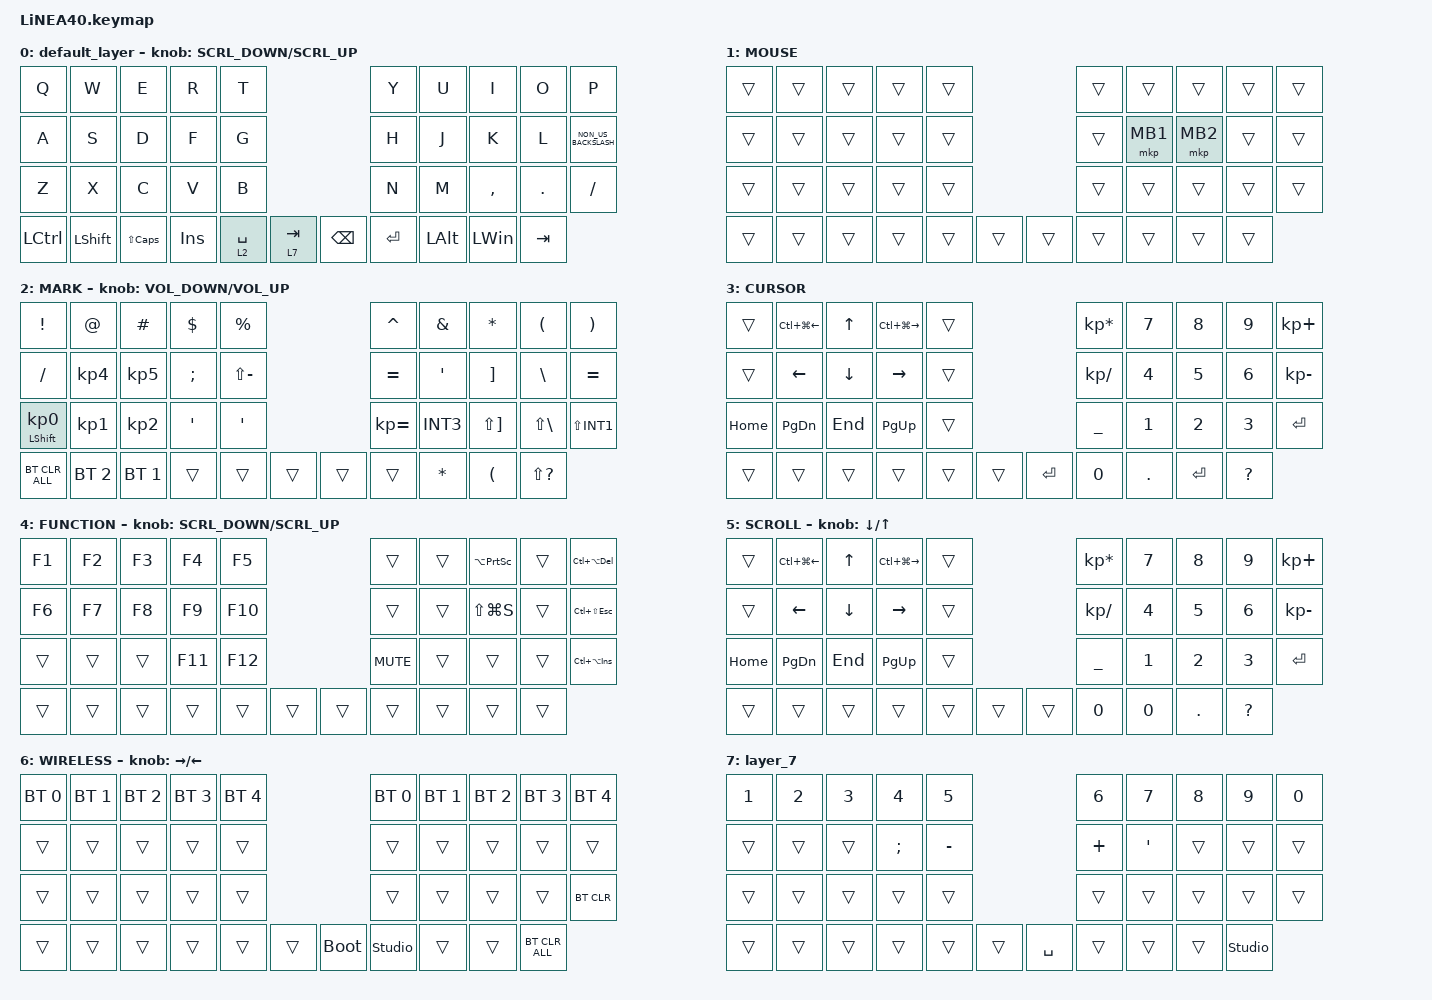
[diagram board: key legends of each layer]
#define ZMK_POINTING_DEFAULT_SCRL_VAL 150

#include <dt-bindings/zmk/input_transform.h>
#include <input/processors.dtsi>
#include <zephyr/dt-bindings/input/input-event-codes.h>
#include <behaviors.dtsi>
#include <dt-bindings/zmk/bt.h>
#include <dt-bindings/zmk/keys.h>
#include <dt-bindings/zmk/pointing.h>

#define MOUSE 1
#define MARK 2
#define CURSOR 3
#define FUNCTION 4
#define SCROLL 5
#define WIRELESS 6

//mouse cursol

&mmv {
    delay-ms = <20>;
    trigger-period-ms = <5>;
    time-to-max-speed-ms = <100>;
    acceleration-exponent = <2>;
};

//mouse scroll

&msc {
    delay-ms = <3>;
    trigger-period-ms = <3>;
    time-to-max-speed-ms = <100>;
    acceleration-exponent = <0>;
};

/ {
    input_processors {
        zip_wheel_scaler: zip_wheel_scaler {
            compatible = "zmk,input-processor-scaler";
            #input-processor-cells = <2>;
            type = <INPUT_EV_REL>;
            codes = <INPUT_REL_WHEEL>;
            track-remainders;
        };
    };
};

&msc_input_listener {
    speed_up {
        layers = <FUNCTION>;
        input-processors = <&zip_wheel_scaler 3 1>; //スクロールを3倍速にする
    };
};

&trackball_listener {
    scroller {
        layers = <SCROLL>;
        input-processors =
            <&zip_xy_transform INPUT_TRANSFORM_Y_INVERT>,
            //スクロール方向を逆転,,,,,,
            <&zip_xy_to_scroll_mapper>;
    };
};

/ {
    combos {
        compatible = "zmk,combos";

        ZenkakuHankaku {
            bindings = <&kp GRAVE>;
            key-positions = <11 12>;
        };

        DeleteKey {
            bindings = <&kp DEL>;
            key-positions = <7 8>;
        };

        InsertKey {
            bindings = <&kp INS>;
            key-positions = <6 7>;
        };

        CenterClick {
            bindings = <&mkp MB3>;
            key-positions = <17 16>;
        };

        RightClick {
            bindings = <&mkp MB2>;
            key-positions = <18 17>;
        };

        PrevClick {
            bindings = <&mkp MB4>;
            key-positions = <27 28>;
        };

        ClickNext {
            bindings = <&mkp MB5>;
            key-positions = <26 27>;
        };
    };

    behaviors {
        re_kp: sensor_rotate_kp {
            compatible = "zmk,behavior-sensor-rotate-var";
            #sensor-binding-cells = <2>;
            bindings = <&kp>, <&kp>;
        };

        mouse_scrl: mouse_wheel_scrl {
            compatible = "zmk,behavior-sensor-rotate-var";
            #sensor-binding-cells = <2>;
            bindings = <&msc>, <&msc>;

            tap-ms = <20>;
        };
    };

    keymap {
        compatible = "zmk,keymap";

        default_layer {
            bindings = <
&kp Q      &kp W           &kp E             &kp R    &kp T                                    &kp Y      &kp U  &kp I         &kp O         &kp P
&kp A      &kp S           &kp D             &kp F    &kp G                                    &kp H      &kp J  &kp K         &kp L         &kp NON_US_BACKSLASH
&kp Z      &kp X           &kp C             &kp V    &kp B                                    &kp N      &kp M  &kp COMMA     &kp DOT       &kp SLASH
&kp LCTRL  &kp LEFT_SHIFT  &kp LS(CAPSLOCK)  &kp INS  &lt 2 SPACE  &lt 7 TAB    &kp BACKSPACE  &kp ENTER         &kp LEFT_ALT  &kp LEFT_WIN  &kp TAB
            >;

            sensor-bindings = <&mouse_scrl SCRL_DOWN SCRL_UP>;
        };

        //1

        MOUSE {
            bindings = <
&trans  &trans  &trans  &trans  &trans                    &trans  &trans    &trans    &trans  &trans
&trans  &trans  &trans  &trans  &trans                    &trans  &mkp MB1  &mkp MB2  &trans  &trans
&trans  &trans  &trans  &trans  &trans                    &trans  &trans    &trans    &trans  &trans
&trans  &trans  &trans  &trans  &trans  &trans    &trans  &trans            &trans    &trans  &trans
            >;
        };

        //2

        MARK {
            bindings = <
&kp EXCLAMATION             &kp AT           &kp HASH         &kp DOLLAR     &kp PERCENT                      &kp CARET     &kp AMPERSAND     &kp ASTERISK           &kp LEFT_PARENTHESIS  &kp RIGHT_PARENTHESIS
&kp SLASH                   &kp KP_NUMBER_4  &kp KP_NUMBER_5  &kp SEMICOLON  &kp LS(MINUS)                    &kp EQUAL     &kp SINGLE_QUOTE  &kp RIGHT_BRACKET      &kp BACKSLASH         &kp EQUAL
&mt LEFT_SHIFT KP_NUMBER_0  &kp KP_NUMBER_1  &kp KP_NUMBER_2  &kp APOS       &kp SQT                          &kp KP_EQUAL  &kp INT3          &kp LS(RIGHT_BRACKET)  &kp LS(BACKSLASH)     &kp LS(INT1)
&bt BT_CLR_ALL              &bt BT_SEL 2     &bt BT_SEL 1     &trans         &trans         &trans    &trans  &trans                          &kp ASTERISK           &kp LEFT_PARENTHESIS  &kp LS(QUESTION)
            >;

            sensor-bindings = <&re_kp C_VOLUME_DOWN C_VOLUME_UP>;
        };

        //3

        CURSOR {
            bindings = <
&trans    &kp LC(LG(LEFT_ARROW))  &kp UP_ARROW  &kp LC(LG(RIGHT_ARROW))  &trans                       &kp KP_MULTIPLY  &kp NUMBER_7  &kp NUMBER_8  &kp NUMBER_9  &kp KP_PLUS
&trans    &kp LEFT_ARROW          &kp DOWN      &kp RIGHT_ARROW          &trans                       &kp KP_SLASH     &kp NUMBER_4  &kp NUMBER_5  &kp NUMBER_6  &kp KP_MINUS
&kp HOME  &kp PAGE_DOWN           &kp END       &kp PAGE_UP              &trans                       &kp UNDER        &kp NUMBER_1  &kp NUMBER_2  &kp NUMBER_3  &kp ENTER
&trans    &trans                  &trans        &trans                   &trans  &trans    &kp ENTER  &kp NUMBER_0                   &kp DOT       &kp ENTER     &kp QUESTION
            >;
        };

        //4

        FUNCTION {
            bindings = <
&kp F1  &kp F2  &kp F3  &kp F4   &kp F5                     &trans      &trans  &kp LA(PRINTSCREEN)  &trans  &kp LC(LA(DELETE))
&kp F6  &kp F7  &kp F8  &kp F9   &kp F10                    &trans      &trans  &kp LS(LG(S))        &trans  &kp LC(LS(ESCAPE))
&trans  &trans  &trans  &kp F11  &kp F12                    &kp C_MUTE  &trans  &trans               &trans  &kp LC(LA(INS))
&trans  &trans  &trans  &trans   &trans   &trans    &trans  &trans              &trans               &trans  &trans
            >;

            sensor-bindings = <&mouse_scrl SCRL_DOWN SCRL_UP>;
        };

        //5

        SCROLL {
            bindings = <
&trans    &kp LC(LG(LEFT_ARROW))  &kp UP_ARROW  &kp LC(LG(RIGHT_ARROW))  &trans                    &kp KP_MULTIPLY  &kp NUMBER_7  &kp NUMBER_8  &kp NUMBER_9  &kp KP_PLUS
&trans    &kp LEFT_ARROW          &kp DOWN      &kp RIGHT_ARROW          &trans                    &kp KP_SLASH     &kp NUMBER_4  &kp NUMBER_5  &kp NUMBER_6  &kp KP_MINUS
&kp HOME  &kp PAGE_DOWN           &kp END       &kp PAGE_UP              &trans                    &kp UNDER        &kp NUMBER_1  &kp NUMBER_2  &kp NUMBER_3  &kp ENTER
&trans    &trans                  &trans        &trans                   &trans  &trans    &trans  &kp NUMBER_0                   &kp NUMBER_0  &kp DOT       &kp QUESTION
            >;

            sensor-bindings = <&inc_dec_kp DOWN_ARROW UP_ARROW>;
        };

        //6

        WIRELESS {
            bindings = <
&bt BT_SEL 0  &bt BT_SEL 1  &bt BT_SEL 2  &bt BT_SEL 3  &bt BT_SEL 4                         &bt BT_SEL 0    &bt BT_SEL 1  &bt BT_SEL 2  &bt BT_SEL 3  &bt BT_SEL 4
&trans        &trans        &trans        &trans        &trans                               &trans          &trans        &trans        &trans        &trans
&trans        &trans        &trans        &trans        &trans                               &trans          &trans        &trans        &trans        &bt BT_CLR
&trans        &trans        &trans        &trans        &trans        &trans    &bootloader  &studio_unlock                &trans        &trans        &bt BT_CLR_ALL
            >;

            sensor-bindings = <&inc_dec_kp RIGHT_ARROW LEFT_ARROW>;
        };

        layer_7 {
            bindings = <
&kp NUMBER_1  &kp NUMBER_2  &kp NUMBER_3  &kp NUMBER_4   &kp NUMBER_5                       &kp NUMBER_6  &kp NUMBER_7  &kp NUMBER_8  &kp NUMBER_9  &kp NUMBER_0
&trans        &trans        &trans        &kp SEMICOLON  &kp MINUS                          &kp PLUS      &kp SQT       &trans        &trans        &trans
&trans        &trans        &trans        &trans         &trans                             &trans        &trans        &trans        &trans        &trans
&trans        &trans        &trans        &trans         &trans        &trans    &kp SPACE  &trans                      &trans        &trans        &studio_unlock
            >;
        };
    };
};
